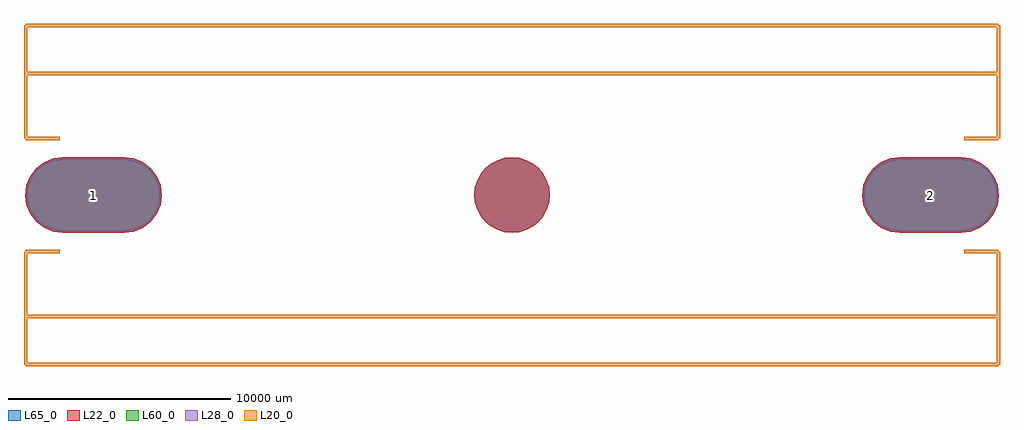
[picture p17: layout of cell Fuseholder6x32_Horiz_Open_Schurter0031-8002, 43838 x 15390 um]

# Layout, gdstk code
import gdstk
lib = gdstk.Library(unit=1e-6, precision=1e-09)
def P(c, l, *ps):  # polygons
    for p in ps: c.add(gdstk.Polygon(p, *l))
L20_0 = (20, 0)
L22_0 = (22, 0)
L28_0 = (28, 0)
L60_0 = (60, 0)
L65_0 = (65, 0)

fuseholder6x32_horiz_ope = lib.new_cell('Fuseholder6x32_Horiz_Open_Schurter0031-8002')
P(fuseholder6x32_horiz_ope, L22_0, [(-20170.14,-1700.6),(-17421.86,-1700.6),(-16981.712,-1642.653),(-16571.56,-1472.763),(-16219.354,-1202.506),(-15949.097,-850.3),(-15779.207,-440.148),(-15721.26,0),(-15779.207,440.148),(-15949.097,850.3),(-16219.354,1202.506),(-16571.56,1472.763),(-16981.712,1642.653),(-17421.86,1700.6),(-20170.14,1700.6),(-20610.288,1642.653),(-21020.44,1472.763),(-21372.646,1202.506),(-21642.903,850.3),(-21812.793,440.148),(-21870.74,0),(-21812.793,-440.148),(-21642.903,-850.3),(-21372.646,-1202.506),(-21020.44,-1472.763),(-20610.288,-1642.653)],
  [(17421.86,-1700.6),(20170.14,-1700.6),(20610.288,-1642.653),(21020.44,-1472.763),(21372.646,-1202.506),(21642.903,-850.3),(21812.793,-440.148),(21870.74,0),(21812.793,440.148),(21642.903,850.3),(21372.646,1202.506),(21020.44,1472.763),(20610.288,1642.653),(20170.14,1700.6),(17421.86,1700.6),(16981.712,1642.653),(16571.56,1472.763),(16219.354,1202.506),(15949.097,850.3),(15779.207,440.148),(15721.26,0),(15779.207,-440.148),(15949.097,-850.3),(16219.354,-1202.506),(16571.56,-1472.763),(16981.712,-1642.653)],
  [(1700.6,0),(1667.923,331.771),(1571.15,650.791),(1413.997,944.803),(1202.506,1202.506),(944.803,1413.997),(650.791,1571.15),(331.771,1667.923),(0,1700.6),(-331.771,1667.923),(-650.791,1571.15),(-944.803,1413.997),(-1202.506,1202.506),(-1413.997,944.803),(-1571.15,650.791),(-1667.923,331.771),(-1700.6,0),(-1667.923,-331.771),(-1571.15,-650.791),(-1413.997,-944.803),(-1202.506,-1202.506),(-944.803,-1413.997),(-650.791,-1571.15),(-331.771,-1667.923),(0,-1700.6),(331.771,-1667.923),(650.791,-1571.15),(944.803,-1413.997),(1202.506,-1202.506),(1413.997,-944.803),(1571.15,-650.791),(1667.923,-331.771)])
P(fuseholder6x32_horiz_ope, L28_0, [(-20170.14,-1625.6),(-17421.86,-1625.6),(-17001.124,-1570.209),(-16609.06,-1407.811),(-16272.387,-1149.473),(-16014.049,-812.8),(-15851.651,-420.736),(-15796.26,0),(-15851.651,420.736),(-16014.049,812.8),(-16272.387,1149.473),(-16609.06,1407.811),(-17001.124,1570.209),(-17421.86,1625.6),(-20170.14,1625.6),(-20590.876,1570.209),(-20982.94,1407.811),(-21319.613,1149.473),(-21577.951,812.8),(-21740.349,420.736),(-21795.74,0),(-21740.349,-420.736),(-21577.951,-812.8),(-21319.613,-1149.473),(-20982.94,-1407.811),(-20590.876,-1570.209)],
  [(17421.86,-1625.6),(20170.14,-1625.6),(20590.876,-1570.209),(20982.94,-1407.811),(21319.613,-1149.473),(21577.951,-812.8),(21740.349,-420.736),(21795.74,0),(21740.349,420.736),(21577.951,812.8),(21319.613,1149.473),(20982.94,1407.811),(20590.876,1570.209),(20170.14,1625.6),(17421.86,1625.6),(17001.124,1570.209),(16609.06,1407.811),(16272.387,1149.473),(16014.049,812.8),(15851.651,420.736),(15796.26,0),(15851.651,-420.736),(16014.049,-812.8),(16272.387,-1149.473),(16609.06,-1407.811),(17001.124,-1570.209)])
P(fuseholder6x32_horiz_ope, L60_0, [(-20170.14,-1625.6),(-17421.86,-1625.6),(-17001.124,-1570.209),(-16609.06,-1407.811),(-16272.387,-1149.473),(-16014.049,-812.8),(-15851.651,-420.736),(-15796.26,0),(-15851.651,420.736),(-16014.049,812.8),(-16272.387,1149.473),(-16609.06,1407.811),(-17001.124,1570.209),(-17421.86,1625.6),(-20170.14,1625.6),(-20590.876,1570.209),(-20982.94,1407.811),(-21319.613,1149.473),(-21577.951,812.8),(-21740.349,420.736),(-21795.74,0),(-21740.349,-420.736),(-21577.951,-812.8),(-21319.613,-1149.473),(-20982.94,-1407.811),(-20590.876,-1570.209)],
  [(17421.86,-1625.6),(20170.14,-1625.6),(20590.876,-1570.209),(20982.94,-1407.811),(21319.613,-1149.473),(21577.951,-812.8),(21740.349,-420.736),(21795.74,0),(21740.349,420.736),(21577.951,812.8),(21319.613,1149.473),(20982.94,1407.811),(20590.876,1570.209),(20170.14,1625.6),(17421.86,1625.6),(17001.124,1570.209),(16609.06,1407.811),(16272.387,1149.473),(16014.049,812.8),(15851.651,420.736),(15796.26,0),(15851.651,-420.736),(16014.049,-812.8),(16272.387,-1149.473),(16609.06,-1407.811),(17001.124,-1570.209)])
P(fuseholder6x32_horiz_ope, L65_0, [(-20170.14,-1700.6),(-17421.86,-1700.6),(-16981.712,-1642.653),(-16571.56,-1472.763),(-16219.354,-1202.506),(-15949.097,-850.3),(-15779.207,-440.148),(-15721.26,0),(-15779.207,440.148),(-15949.097,850.3),(-16219.354,1202.506),(-16571.56,1472.763),(-16981.712,1642.653),(-17421.86,1700.6),(-20170.14,1700.6),(-20610.288,1642.653),(-21020.44,1472.763),(-21372.646,1202.506),(-21642.903,850.3),(-21812.793,440.148),(-21870.74,0),(-21812.793,-440.148),(-21642.903,-850.3),(-21372.646,-1202.506),(-21020.44,-1472.763),(-20610.288,-1642.653)],
  [(17421.86,-1700.6),(20170.14,-1700.6),(20610.288,-1642.653),(21020.44,-1472.763),(21372.646,-1202.506),(21642.903,-850.3),(21812.793,-440.148),(21870.74,0),(21812.793,440.148),(21642.903,850.3),(21372.646,1202.506),(21020.44,1472.763),(20610.288,1642.653),(20170.14,1700.6),(17421.86,1700.6),(16981.712,1642.653),(16571.56,1472.763),(16219.354,1202.506),(15949.097,850.3),(15779.207,440.148),(15721.26,0),(15779.207,-440.148),(15949.097,-850.3),(16219.354,-1202.506),(16571.56,-1472.763),(16981.712,-1642.653)],
  [(1700.6,0),(1667.923,331.771),(1571.15,650.791),(1413.997,944.803),(1202.506,1202.506),(944.803,1413.997),(650.791,1571.15),(331.771,1667.923),(0,1700.6),(-331.771,1667.923),(-650.791,1571.15),(-944.803,1413.997),(-1202.506,1202.506),(-1413.997,944.803),(-1571.15,650.791),(-1667.923,331.771),(-1700.6,0),(-1667.923,-331.771),(-1571.15,-650.791),(-1413.997,-944.803),(-1202.506,-1202.506),(-944.803,-1413.997),(-650.791,-1571.15),(-331.771,-1667.923),(0,-1700.6),(331.771,-1667.923),(650.791,-1571.15),(944.803,-1413.997),(1202.506,-1202.506),(1413.997,-944.803),(1571.15,-650.791),(1667.923,-331.771)])
fuseholder6x32_horiz_ope.add(gdstk.FlexPath([(-21844,7620),(21844,7620)], 149.998, ends="flush", simple_path=True, layer=20, datatype=0))  # L20_0
fuseholder6x32_horiz_ope.add(gdstk.FlexPath([(21844,-7620),(-21844,-7620)], 149.998, ends="flush", simple_path=True, layer=20, datatype=0))  # L20_0
fuseholder6x32_horiz_ope.add(gdstk.FlexPath([(21844,-5461),(-21844,-5461)], 149.998, ends="flush", simple_path=True, layer=20, datatype=0))  # L20_0
fuseholder6x32_horiz_ope.add(gdstk.FlexPath([(-21844,5461),(21844,5461)], 149.998, ends="flush", simple_path=True, layer=20, datatype=0))  # L20_0
fuseholder6x32_horiz_ope.add(gdstk.FlexPath([(20320,-2540),(21844,-2540)], 149.998, ends="flush", simple_path=True, layer=20, datatype=0))  # L20_0
fuseholder6x32_horiz_ope.add(gdstk.FlexPath([(21844,2540),(20320,2540)], 149.998, ends="flush", simple_path=True, layer=20, datatype=0))  # L20_0
fuseholder6x32_horiz_ope.add(gdstk.FlexPath([(21844,7620),(21844,2540)], 149.998, ends="flush", simple_path=True, layer=20, datatype=0))  # L20_0
fuseholder6x32_horiz_ope.add(gdstk.FlexPath([(21844,-2540),(21844,-7620)], 149.998, ends="flush", simple_path=True, layer=20, datatype=0))  # L20_0
fuseholder6x32_horiz_ope.add(gdstk.FlexPath([(-20320,-2540),(-21844,-2540)], 149.998, ends="flush", simple_path=True, layer=20, datatype=0))  # L20_0
fuseholder6x32_horiz_ope.add(gdstk.FlexPath([(-21844,2540),(-20320,2540)], 149.998, ends="flush", simple_path=True, layer=20, datatype=0))  # L20_0
fuseholder6x32_horiz_ope.add(gdstk.FlexPath([(-21844,7620),(-21844,2540)], 149.998, ends="flush", simple_path=True, layer=20, datatype=0))  # L20_0
fuseholder6x32_horiz_ope.add(gdstk.FlexPath([(-21844,-2540),(-21844,-7620)], 149.998, ends="flush", simple_path=True, layer=20, datatype=0))  # L20_0
fuseholder6x32_horiz_ope.add(gdstk.Label('1', (-18796,0), layer=28, texttype=0))
fuseholder6x32_horiz_ope.add(gdstk.Label('2', (18796,0), layer=28, texttype=0))
fuseholder6x32_horiz_ope.add(gdstk.Label('type', (-1270,-11430), layer=9, texttype=0))
fuseholder6x32_horiz_ope.add(gdstk.Label('devicename', (0,10160), layer=9, texttype=0))

lib.write_gds('Fuseholder6x32_Horiz_Open_Schurter0031-8002.gds')
